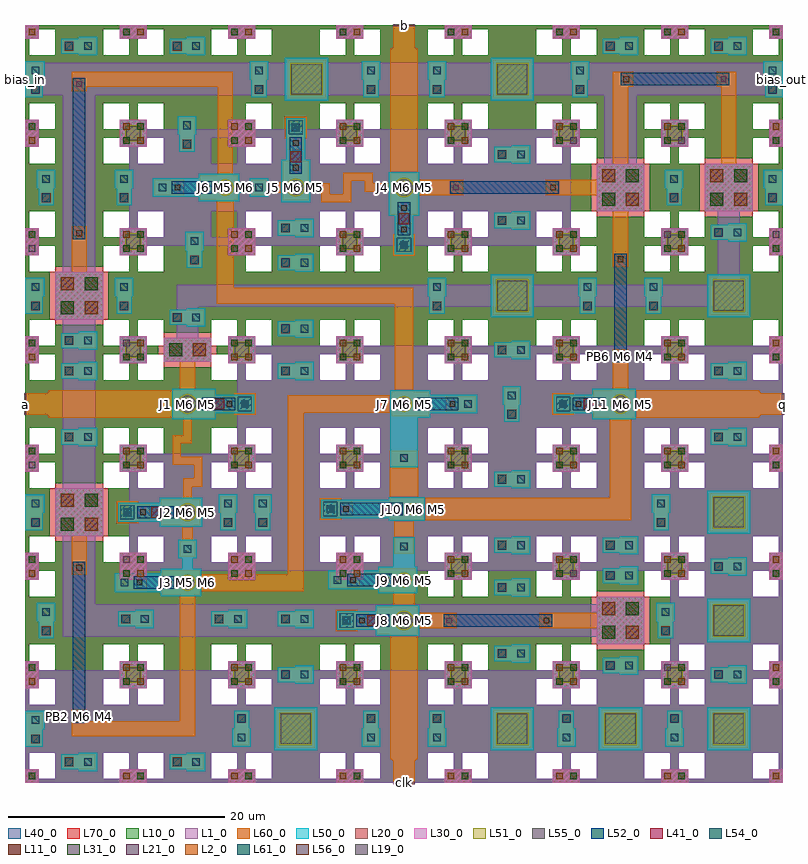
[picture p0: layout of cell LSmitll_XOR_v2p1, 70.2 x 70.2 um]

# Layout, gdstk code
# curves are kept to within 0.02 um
from math import pi, radians
import gdstk
lib = gdstk.Library(unit=1e-6, precision=1e-09)
def R(c, l, rs):  # rectangles x0, y0, x1, y1
    for r in rs: c.add(gdstk.rectangle(r[:2], r[2:], *l))
def A(c, l, x, y, w, h, nx, ny, dx, dy):  # array of equal rectangles
    R(c, l, [(x+i*dx, y+j*dy, x+i*dx+w, y+j*dy+h) for i in range(nx) for j in range(ny)])
def P(c, l, *ps):  # polygons
    for p in ps: c.add(gdstk.Polygon(p, *l))
L1_0 = (1, 0)
L2_0 = (2, 0)
L10_0 = (10, 0)
L11_0 = (11, 0)
L19_0 = (19, 0)
L20_0 = (20, 0)
L21_0 = (21, 0)
L30_0 = (30, 0)
L31_0 = (31, 0)
L40_0 = (40, 0)
L41_0 = (41, 0)
L50_0 = (50, 0)
L51_0 = (51, 0)
L52_0 = (52, 0)
L54_0 = (54, 0)
L55_0 = (55, 0)
L56_0 = (56, 0)
L60_0 = (60, 0)
L61_0 = (61, 0)
L70_0 = (70, 0)

ls_tr_m0 = lib.new_cell('ls_tr_M0')
P(ls_tr_m0, L1_0, [(10,10),(7.2,10),(7.2,9.6),(8.75,9.6),(8.75,8.75),(9.6,8.75),(9.6,7.2),(7.2,7.2),(7.2,2.8),(9.6,2.8),(9.6,1.25),(8.75,1.25),(8.75,0.4),(7.2,0.4),(7.2,10),(1.25,10),(1.25,9.6),(2.8,9.6),(2.8,7.2),(0.4,7.2),(0.4,2.8),(2.8,2.8),(2.8,0.4),(1.25,0.4),(1.25,1.25),(0.4,1.25),(0.4,8.75),(1.25,8.75),(1.25,10),(0,10),(0,0),(10,0)])

ls_fakejj_3umx3um = lib.new_cell('ls_FakeJJ_3umx3um')
R(ls_fakejj_3umx3um, L40_0, [(-2,-2,2,2)])
R(ls_fakejj_3umx3um, L50_0, [(-2,-2,2,2)])
R(ls_fakejj_3umx3um, L51_0, [(-1.5,-1.5,1.5,1.5)])
R(ls_fakejj_3umx3um, L55_0, [(-1.4,-1.4,1.4,1.4)])
R(ls_fakejj_3umx3um, L60_0, [(-1.75,-1.75,1.75,1.75)])

ls_fakejj_1p5x1p5um = lib.new_cell('ls_FakeJJ_1p5x1p5um')
R(ls_fakejj_1p5x1p5um, L40_0, [(-1.25,-1.25,1.25,1.25)])
R(ls_fakejj_1p5x1p5um, L50_0, [(-1.25,-1.25,1.25,1.25)])
R(ls_fakejj_1p5x1p5um, L51_0, [(-0.75,-0.75,0.75,0.75)])
R(ls_fakejj_1p5x1p5um, L55_0, [(-0.65,-0.65,0.65,0.65)])
R(ls_fakejj_1p5x1p5um, L60_0, [(-1,-1,1,1)])

ls_ib_112 = lib.new_cell('ls_ib_112')
R(ls_ib_112, L52_0, [(-0.575,0,0.575,14.875)])
R(ls_ib_112, L56_0, [(-0.26,0.29,0.26,0.81), (-0.26,14.07,0.26,14.59)])
R(ls_ib_112, L60_0, [(-0.625,-0.1,0.625,1.175), (-0.625,13.7,0.625,14.975)])

ls_jj_145_s = lib.new_cell('ls_jj_145_s')
R(ls_jj_145_s, L50_0, [(-1.225,-1.225,1.225,2.4), (-0.875,2.4,0.875,7)])
P(ls_jj_145_s, L51_0, [(0,-0.7),(0.27,-0.645),(0.495,-0.495),(0.645,-0.265),(0.7,0),(0.645,0.27),(0.495,0.495),(0.27,0.65),(0,0.7),(-0.27,0.65),(-0.495,0.495),(-0.645,0.27),(-0.7,0),(-0.645,-0.265),(-0.495,-0.495),(-0.27,-0.645)])
R(ls_jj_145_s, L52_0, [(-0.575,1.125,0.575,5.25)])
R(ls_jj_145_s, L54_0, [(-0.35,5.775,0.35,6.475)])
P(ls_jj_145_s, L55_0, [(0,-0.55),(0.21,-0.51),(0.39,-0.39),(0.51,-0.21),(0.55,0),(0.51,0.21),(0.39,0.39),(0.21,0.51),(0,0.55),(-0.21,0.51),(-0.39,0.39),(-0.51,0.21),(-0.55,0),(-0.51,-0.21),(-0.39,-0.39),(-0.21,-0.51)])
R(ls_jj_145_s, L56_0, [(-0.26,1.4,0.26,1.92), (-0.26,4.46,0.26,4.98)])
R(ls_jj_145_s, L60_0, [(-1.075,-1.075,1.075,2.3), (-0.725,4.1,0.725,6.85)])

ls_jj_162_s = lib.new_cell('ls_jj_162_s')
R(ls_jj_162_s, L50_0, [(-1.275,-1.275,1.275,2.425), (-0.875,2.425,0.875,6.775)])
P(ls_jj_162_s, L51_0, [(0,-0.74),(0.285,-0.685),(0.52,-0.525),(0.685,-0.285),(0.74,0),(0.685,0.28),(0.52,0.52),(0.285,0.68),(0,0.735),(-0.285,0.68),(-0.52,0.52),(-0.685,0.28),(-0.74,0),(-0.685,-0.285),(-0.52,-0.525),(-0.285,-0.685)])
R(ls_jj_162_s, L52_0, [(-0.575,1.175,0.575,5.025)])
R(ls_jj_162_s, L54_0, [(-0.35,5.55,0.35,6.25)])
P(ls_jj_162_s, L55_0, [(0,-0.59),(0.23,-0.55),(0.42,-0.42),(0.54,-0.23),(0.59,0),(0.54,0.22),(0.42,0.43),(0.13,0.58),(0,0.59),(-0.13,0.58),(-0.42,0.43),(-0.54,0.22),(-0.59,0),(-0.54,-0.23),(-0.42,-0.42),(-0.23,-0.55)])
R(ls_jj_162_s, L56_0, [(-0.26,1.44,0.26,1.96), (-0.26,4.23,0.26,4.75)])
R(ls_jj_162_s, L60_0, [(-1.125,-1.125,1.125,2.325), (-0.725,3.85,0.725,6.625)])

ls_jj_171_s = lib.new_cell('ls_jj_171_s')
R(ls_jj_171_s, L50_0, [(-1.275,-1.275,1.275,2.475), (-0.875,2.475,0.875,6.7)])
P(ls_jj_171_s, L51_0, [(0,-0.76),(0.29,-0.7),(0.535,-0.54),(0.7,-0.29),(0.76,0),(0.7,0.29),(0.535,0.535),(0.29,0.7),(0,0.755),(-0.29,0.7),(-0.535,0.535),(-0.7,0.29),(-0.76,0),(-0.7,-0.29),(-0.535,-0.54),(-0.29,-0.7)])
R(ls_jj_171_s, L52_0, [(-0.575,1.2,0.575,4.95)])
R(ls_jj_171_s, L54_0, [(-0.35,5.475,0.35,6.175)])
P(ls_jj_171_s, L55_0, [(0,-0.61),(0.12,-0.6),(0.34,-0.51),(0.51,-0.34),(0.6,-0.12),(0.6,0.12),(0.51,0.34),(0.34,0.5),(0.12,0.61),(-0.12,0.61),(-0.34,0.5),(-0.51,0.34),(-0.6,0.12),(-0.6,-0.12),(-0.51,-0.34),(-0.34,-0.51),(-0.12,-0.6)])
R(ls_jj_171_s, L56_0, [(-0.26,1.48,0.26,2), (-0.26,4.16,0.26,4.68)])
R(ls_jj_171_s, L60_0, [(-1.125,-1.125,1.125,2.375), (-0.725,3.775,0.725,6.55)])

ls_conn_m5m6m7 = lib.new_cell('ls_conn_M5M6M7')
R(ls_conn_m5m6m7, L50_0, [(-0.5,-0.5,1.2,1.2)])
R(ls_conn_m5m6m7, L54_0, [(0,0,0.7,0.7)])
R(ls_conn_m5m6m7, L60_0, [(-0.65,-0.65,1.35,1.35)])
R(ls_conn_m5m6m7, L61_0, [(-0.3,-0.3,1,1)])
R(ls_conn_m5m6m7, L70_0, [(-0.65,-0.65,1.35,1.35)])

ls_jj_209_sg = lib.new_cell('ls_jj_209_sg')
R(ls_jj_209_sg, L41_0, [(-0.5,2.325,0.5,3.325)])
R(ls_jj_209_sg, L50_0, [(-1.35,-1.35,1.35,2.55), (-0.875,2.55,0.875,6.4)])
P(ls_jj_209_sg, L51_0, [(0,-0.835),(0.32,-0.77),(0.59,-0.59),(0.77,-0.32),(0.835,0),(0.77,0.32),(0.59,0.59),(0.32,0.77),(0,0.835),(-0.32,0.77),(-0.59,0.59),(-0.77,0.32),(-0.835,0),(-0.77,-0.32),(-0.59,-0.59),(-0.32,-0.77)])
R(ls_jj_209_sg, L52_0, [(-0.575,1.275,0.575,4.65)])
P(ls_jj_209_sg, L55_0, [(0,-0.69),(0.13,-0.68),(0.38,-0.59),(0.57,-0.39),(0.63,-0.27),(0.69,-0.01),(0.63,0.26),(0.48,0.48),(0.26,0.63),(0,0.68),(-0.26,0.63),(-0.48,0.48),(-0.63,0.26),(-0.69,-0.01),(-0.63,-0.27),(-0.57,-0.39),(-0.38,-0.59),(-0.13,-0.68)])
R(ls_jj_209_sg, L56_0, [(-0.26,1.56,0.26,2.08), (-0.26,3.84,0.26,4.36)])
R(ls_jj_209_sg, L60_0, [(-1.2,-1.2,1.2,2.45), (-0.725,3.475,0.725,6.25)])
ls_jj_209_sg.add(gdstk.Reference(ls_conn_m5m6m7, (-0.35,5.2)))

ls_conn_m4m5m6m7 = lib.new_cell('ls_conn_M4M5M6M7')
R(ls_conn_m4m5m6m7, L40_0, [(0,0,1.4,1.4)])
R(ls_conn_m4m5m6m7, L41_0, [(0.3,0.3,1.1,1.1)])
P(ls_conn_m4m5m6m7, L50_0, [(3.3,1.55),(1.6,1.55),(1.6,1.4),(0,1.4),(0,0),(1.6,0),(1.6,-0.15),(3.3,-0.15)])
R(ls_conn_m4m5m6m7, L54_0, [(2.1,0.35,2.8,1.05)])
R(ls_conn_m4m5m6m7, L60_0, [(0,0,3.15,1.4)])
R(ls_conn_m4m5m6m7, L61_0, [(0.35,0.35,1.05,1.05)])
R(ls_conn_m4m5m6m7, L70_0, [(0,0,1.4,1.4)])

ls_tr_bias_pillar_m0m6 = lib.new_cell('ls_tr_bias_pillar_M0M6')
R(ls_tr_bias_pillar_m0m6, L1_0, [(0,0,1.25,1.25), (8.75,0,10,1.25), (2.8,2.8,7.2,7.2), (0,8.75,1.25,10), (8.75,8.75,10,10)])
R(ls_tr_bias_pillar_m0m6, L2_0, [(5.5,3.3,6.7,4.5), (3.3,5.5,4.5,6.7)])
R(ls_tr_bias_pillar_m0m6, L10_0, [(0,0,1.25,1.25), (8.75,0,10,1.25), (2.8,2.8,7.2,7.2), (0,8.75,1.25,10), (8.75,8.75,10,10)])
P(ls_tr_bias_pillar_m0m6, L10_0, [(10,10),(7.2,10),(7.2,9.6),(8.75,9.6),(8.75,8.75),(9.6,8.75),(9.6,7.2),(7.7,7.2),(7.7,2.8),(9.6,2.8),(9.6,1.25),(8.75,1.25),(8.75,0.4),(7.2,0.4),(7.2,2.3),(2.8,2.3),(2.8,0.4),(1.25,0.4),(1.25,1.25),(0.4,1.25),(0.4,2.8),(2.3,2.8),(2.3,7.2),(0.4,7.2),(0.4,8.75),(1.25,8.75),(1.25,9.6),(2.8,9.6),(2.8,7.7),(7.2,7.7),(7.2,10),(0,10),(0,0),(10,0)])
R(ls_tr_bias_pillar_m0m6, L11_0, [(0.35,0.35,0.95,0.95), (3.3,3.3,4.5,4.5), (5.5,5.5,6.7,6.7), (9.05,9.05,9.65,9.65)])
R(ls_tr_bias_pillar_m0m6, L20_0, [(0,0,1.25,1.25), (8.75,0,10,1.25), (2.8,2.8,7.2,7.2), (0,8.75,1.25,10), (8.75,8.75,10,10)])
R(ls_tr_bias_pillar_m0m6, L21_0, [(9.05,0.35,9.65,0.95), (5.5,3.3,6.7,4.5), (3.3,5.5,4.5,6.7), (0.35,9.05,0.95,9.65)])
R(ls_tr_bias_pillar_m0m6, L30_0, [(0,0,1.25,1.25), (8.75,0,10,1.25), (2.8,2.8,7.2,7.2), (0,8.75,1.25,10), (8.75,8.75,10,10)])
R(ls_tr_bias_pillar_m0m6, L31_0, [(0.35,0.35,0.95,0.95), (3.3,3.3,4.5,4.5), (5.5,5.5,6.7,6.7), (9.05,9.05,9.65,9.65)])
R(ls_tr_bias_pillar_m0m6, L40_0, [(2.8,2.8,7.2,7.2)])
P(ls_tr_bias_pillar_m0m6, L40_0, [(10,10),(7.2,10),(7.2,9.6),(8.75,9.6),(8.75,8.75),(9.6,8.75),(9.6,7.2),(7.7,7.2),(7.7,2.8),(9.6,2.8),(9.6,1.25),(8.75,1.25),(8.75,0.4),(7.2,0.4),(7.2,2.3),(2.8,2.3),(2.8,0.4),(1.25,0.4),(1.25,1.25),(0.4,1.25),(0.4,2.8),(2.3,2.8),(2.3,7.2),(0.4,7.2),(0.4,8.75),(1.25,8.75),(1.25,9.6),(2.8,9.6),(2.8,7.7),(7.2,7.7),(7.2,10),(0,10),(0,0),(10,0)])
R(ls_tr_bias_pillar_m0m6, L41_0, [(5.5,3.3,6.7,4.5), (3.3,5.5,4.5,6.7)])
R(ls_tr_bias_pillar_m0m6, L50_0, [(2.8,2.8,7.2,7.2)])
R(ls_tr_bias_pillar_m0m6, L54_0, [(3.3,3.3,4.5,4.5), (5.5,5.5,6.7,6.7)])
R(ls_tr_bias_pillar_m0m6, L60_0, [(2.8,2.8,7.2,7.2)])
P(ls_tr_bias_pillar_m0m6, L70_0, [(10,10),(7.2,10),(7.2,9.6),(8.75,9.6),(8.75,8.75),(9.6,8.75),(9.6,7.2),(7.2,7.2),(7.2,2.8),(9.6,2.8),(9.6,1.25),(8.75,1.25),(8.75,0.4),(7.2,0.4),(7.2,10),(1.25,10),(1.25,9.6),(2.8,9.6),(2.8,7.2),(0.4,7.2),(0.4,2.8),(2.8,2.8),(2.8,0.4),(1.25,0.4),(1.25,1.25),(0.4,1.25),(0.4,8.75),(1.25,8.75),(1.25,10),(0,10),(0,0),(10,0)])

ls_tr_u_m4_alt_quarter1 = lib.new_cell('ls_tr_u_M4_alt_quarter1')
R(ls_tr_u_m4_alt_quarter1, L1_0, [(0,0,1.25,1.25)])
R(ls_tr_u_m4_alt_quarter1, L10_0, [(0,0,1.25,1.25), (1.25,0,2.8,0.4), (2.8,0,5,5), (0,1.25,0.4,2.8), (0,2.8,2.8,5)])
R(ls_tr_u_m4_alt_quarter1, L11_0, [(0.35,0.35,0.95,0.95)])
R(ls_tr_u_m4_alt_quarter1, L20_0, [(0,0,1.25,1.25)])
R(ls_tr_u_m4_alt_quarter1, L30_0, [(0,0,1.25,1.25)])
R(ls_tr_u_m4_alt_quarter1, L31_0, [(0.35,0.35,0.95,0.95)])
R(ls_tr_u_m4_alt_quarter1, L40_0, [(0,0,1.25,1.25), (1.25,0,2.8,0.4), (2.8,0,5,5), (0,1.25,0.4,2.8), (0,2.8,2.8,5)])
R(ls_tr_u_m4_alt_quarter1, L70_0, [(0,0,1.25,1.25), (1.25,0,2.8,0.4), (2.8,0,5,5), (0,1.25,0.4,2.8), (0,2.8,2.8,5)])

ls_conn_m5m6 = lib.new_cell('ls_conn_M5M6')
R(ls_conn_m5m6, L50_0, [(0,0,1.7,1.7)])
R(ls_conn_m5m6, L54_0, [(0.5,0.5,1.2,1.2)])
R(ls_conn_m5m6, L60_0, [(0.15,0.15,1.55,1.55)])

ls_jj_250_sg = lib.new_cell('ls_jj_250_sg')
R(ls_jj_250_sg, L41_0, [(-0.5,2.4,0.5,3.4)])
R(ls_jj_250_sg, L50_0, [(-1.425,-1.425,1.425,2.625), (-0.875,2.625,0.875,6.175)])
P(ls_jj_250_sg, L51_0, [(0,-0.91),(0.18,-0.895),(0.35,-0.84),(0.645,-0.645),(0.84,-0.35),(0.91,0),(0.895,0.18),(0.84,0.35),(0.645,0.645),(0.35,0.84),(0.18,0.895),(0,0.91),(-0.18,0.895),(-0.35,0.84),(-0.645,0.645),(-0.84,0.35),(-0.895,0.18),(-0.91,0),(-0.84,-0.35),(-0.645,-0.645),(-0.35,-0.84),(-0.18,-0.895)])
R(ls_jj_250_sg, L52_0, [(-0.575,1.35,0.575,4.425)])
R(ls_jj_250_sg, L54_0, [(-0.35,4.95,0.35,5.65)])
P(ls_jj_250_sg, L55_0, [(0,-0.76),(0.15,-0.75),(0.29,-0.7),(0.54,-0.54),(0.7,-0.29),(0.75,-0.15),(0.76,0),(0.75,0.15),(0.7,0.29),(0.54,0.54),(0.29,0.7),(0.15,0.75),(0,0.76),(-0.15,0.75),(-0.29,0.7),(-0.54,0.54),(-0.7,0.29),(-0.75,0.15),(-0.76,0),(-0.75,-0.15),(-0.7,-0.29),(-0.54,-0.54),(-0.29,-0.7),(-0.15,-0.75)])
R(ls_jj_250_sg, L56_0, [(-0.26,1.64,0.26,2.16), (-0.26,3.63,0.26,4.15)])
R(ls_jj_250_sg, L60_0, [(-1.275,-1.275,1.275,2.525), (-0.725,3.25,0.725,6.025)])
ls_jj_250_sg.add(gdstk.Reference(ls_conn_m5m6m7, (-0.35,4.95)))

ls_ib_175 = lib.new_cell('ls_ib_175')
R(ls_ib_175, L52_0, [(-0.575,0,0.575,10.05)])
R(ls_ib_175, L56_0, [(-0.26,0.29,0.26,0.81), (-0.26,9.26,0.26,9.78)])
R(ls_ib_175, L60_0, [(-0.625,-0.1,0.625,1.175), (-0.625,8.875,0.625,10.15)])

ls_tr_m7 = lib.new_cell('ls_tr_M7')
P(ls_tr_m7, L70_0, [(10,10),(7.2,10),(7.2,9.6),(8.75,9.6),(8.75,8.75),(9.6,8.75),(9.6,7.2),(7.2,7.2),(7.2,2.8),(9.6,2.8),(9.6,1.25),(8.75,1.25),(8.75,0.4),(7.2,0.4),(7.2,10),(1.25,10),(1.25,9.6),(2.8,9.6),(2.8,7.2),(0.4,7.2),(0.4,2.8),(2.8,2.8),(2.8,0.4),(1.25,0.4),(1.25,1.25),(0.4,1.25),(0.4,8.75),(1.25,8.75),(1.25,10),(0,10),(0,0),(10,0)])

ls_tr_u_m4_alt = lib.new_cell('ls_tr_u_M4_alt')
R(ls_tr_u_m4_alt, L1_0, [(0,0,1.25,1.25), (8.75,0,10,1.25), (0,8.75,1.25,10), (8.75,8.75,10,10)])
R(ls_tr_u_m4_alt, L2_0, [(9.05,0.35,9.65,0.95), (0.35,9.05,0.95,9.65)])
R(ls_tr_u_m4_alt, L10_0, [(0,0,1.25,1.25), (1.25,0,8.75,0.4), (8.75,0,10,1.25), (2.8,0.4,7.2,9.6), (0,1.25,0.4,8.75), (9.6,1.25,10,8.75), (0.4,2.8,2.8,7.2), (7.2,2.8,9.6,7.2), (0,8.75,1.25,10), (8.75,8.75,10,10), (1.25,9.6,8.75,10)])
R(ls_tr_u_m4_alt, L11_0, [(0.35,0.35,0.95,0.95), (9.05,9.05,9.65,9.65)])
R(ls_tr_u_m4_alt, L20_0, [(0,0,1.25,1.25), (8.75,0,10,1.25), (0,8.75,1.25,10), (8.75,8.75,10,10)])
R(ls_tr_u_m4_alt, L21_0, [(9.05,0.35,9.65,0.95), (0.35,9.05,0.95,9.65)])
R(ls_tr_u_m4_alt, L30_0, [(0,0,1.25,1.25), (8.75,0,10,1.25), (0,8.75,1.25,10), (8.75,8.75,10,10)])
R(ls_tr_u_m4_alt, L31_0, [(0.35,0.35,0.95,0.95), (9.05,9.05,9.65,9.65)])
P(ls_tr_u_m4_alt, L40_0, [(10,10),(7.2,10),(7.2,9.6),(8.75,9.6),(8.75,8.75),(9.6,8.75),(9.6,7.2),(7.2,7.2),(7.2,2.8),(9.6,2.8),(9.6,1.25),(8.75,1.25),(8.75,0.4),(7.2,0.4),(7.2,10),(1.25,10),(1.25,9.6),(2.8,9.6),(2.8,7.2),(0.4,7.2),(0.4,2.8),(2.8,2.8),(2.8,0.4),(1.25,0.4),(1.25,1.25),(0.4,1.25),(0.4,8.75),(1.25,8.75),(1.25,10),(0,10),(0,0),(10,0)])
ls_tr_u_m4_alt.add(gdstk.Reference(ls_tr_m7, (0,0)))

ls_tr_biaspillar_m0m6_ha = lib.new_cell('ls_tr_biaspillar_M0M6_half')
R(ls_tr_biaspillar_m0m6_ha, L1_0, [(3.75,0,6.25,1.25), (3.9,2.8,6.1,7.2), (3.75,8.75,6.25,10)])
R(ls_tr_biaspillar_m0m6_ha, L2_0, [(4.05,0.35,4.65,0.95), (4.4,3.3,5.6,4.5), (5.35,9.05,5.95,9.65)])
R(ls_tr_biaspillar_m0m6_ha, L10_0, [(0,0,2.2,10), (2.2,0,3.75,0.4), (3.75,0,6.25,1.25), (6.25,0,7.8,0.4), (7.8,0,10,10), (4.6,1.25,5.4,2.3), (2.2,2.8,3.4,7.2), (3.9,2.8,6.1,7.2), (6.6,2.8,7.8,7.2), (4.6,7.7,5.4,8.75), (3.75,8.75,6.25,10), (2.2,9.6,3.75,10), (6.25,9.6,7.8,10)])
R(ls_tr_biaspillar_m0m6_ha, L11_0, [(5.35,0.35,5.95,0.95), (4.4,5.5,5.6,6.7), (4.05,9.05,4.65,9.65)])
R(ls_tr_biaspillar_m0m6_ha, L20_0, [(3.75,0,6.25,1.25), (3.9,2.8,6.1,7.2), (3.75,8.75,6.25,10)])
R(ls_tr_biaspillar_m0m6_ha, L21_0, [(4.05,0.35,4.65,0.95), (4.4,3.3,5.6,4.5), (5.35,9.05,5.95,9.65)])
R(ls_tr_biaspillar_m0m6_ha, L30_0, [(3.75,0,6.25,1.25), (3.9,2.8,6.1,7.2), (3.75,8.75,6.25,10)])
R(ls_tr_biaspillar_m0m6_ha, L31_0, [(5.35,0.35,5.95,0.95), (4.4,5.5,5.6,6.7), (4.05,9.05,4.65,9.65)])
R(ls_tr_biaspillar_m0m6_ha, L40_0, [(0,0,2.2,10), (2.2,0,3.75,0.4), (3.75,0,6.25,1.25), (6.25,0,7.8,0.4), (7.8,0,10,10), (4.6,1.25,5.4,2.3), (2.2,2.8,3.4,7.2), (3.9,2.8,6.1,7.2), (6.6,2.8,7.8,7.2), (4.6,7.7,5.4,8.75), (3.75,8.75,6.25,10), (2.2,9.6,3.75,10), (6.25,9.6,7.8,10)])
R(ls_tr_biaspillar_m0m6_ha, L41_0, [(4.4,3.3,5.6,4.5)])
R(ls_tr_biaspillar_m0m6_ha, L50_0, [(3.9,2.8,6.1,7.2)])
R(ls_tr_biaspillar_m0m6_ha, L54_0, [(4.4,5.5,5.6,6.7)])
R(ls_tr_biaspillar_m0m6_ha, L60_0, [(3.9,2.8,6.1,7.2)])
R(ls_tr_biaspillar_m0m6_ha, L70_0, [(0,0,2.2,10), (2.2,0,3.75,0.4), (3.75,0,6.25,1.25), (6.25,0,7.8,0.4), (7.8,0,10,10), (4.6,1.25,5.4,8.75), (2.2,2.8,7.8,7.2), (3.75,8.75,6.25,10), (2.2,9.6,3.75,10), (6.25,9.6,7.8,10)])

ls_tr_u_m4_alt_quarter2 = lib.new_cell('ls_tr_u_M4_alt_quarter2')
R(ls_tr_u_m4_alt_quarter2, L1_0, [(-1.25,0,0,1.25)])
R(ls_tr_u_m4_alt_quarter2, L2_0, [(-0.95,0.35,-0.35,0.95)])
R(ls_tr_u_m4_alt_quarter2, L10_0, [(-5,0,-2.8,5), (-2.8,0,-1.25,0.4), (-1.25,0,0,1.25), (-0.4,1.25,0,2.8), (-2.8,2.8,0,5)])
R(ls_tr_u_m4_alt_quarter2, L20_0, [(-1.25,0,0,1.25)])
R(ls_tr_u_m4_alt_quarter2, L21_0, [(-0.95,0.35,-0.35,0.95)])
R(ls_tr_u_m4_alt_quarter2, L30_0, [(-1.25,0,0,1.25)])
R(ls_tr_u_m4_alt_quarter2, L40_0, [(-5,0,-2.8,5), (-2.8,0,-1.25,0.4), (-1.25,0,0,1.25), (-0.4,1.25,0,2.8), (-2.8,2.8,0,5)])
R(ls_tr_u_m4_alt_quarter2, L70_0, [(-5,0,-2.8,5), (-2.8,0,-1.25,0.4), (-1.25,0,0,1.25), (-0.4,1.25,0,2.8), (-2.8,2.8,0,5)])

ls_jj_089_sg = lib.new_cell('ls_jj_089_sg')
R(ls_jj_089_sg, L41_0, [(-0.5,2.05,0.5,3.05)])
R(ls_jj_089_sg, L50_0, [(-1.075,-1.075,1.075,2.25), (-0.875,2.25,0.875,8.5)])
P(ls_jj_089_sg, L51_0, [(0,-0.555),(0.21,-0.515),(0.39,-0.395),(0.51,-0.215),(0.555,0),(0.51,0.21),(0.39,0.39),(0.21,0.51),(0,0.55),(-0.21,0.51),(-0.39,0.39),(-0.51,0.21),(-0.555,0),(-0.51,-0.215),(-0.39,-0.395),(-0.21,-0.515)])
R(ls_jj_089_sg, L52_0, [(-0.575,0.975,0.575,6.75)])
P(ls_jj_089_sg, L55_0, [(0,-0.4),(0.15,-0.37),(0.29,-0.28),(0.4,-0.09),(0.4,0.08),(0.34,0.23),(0.15,0.38),(0,0.41),(-0.15,0.38),(-0.29,0.29),(-0.4,0.08),(-0.4,-0.09),(-0.34,-0.22),(-0.15,-0.37)])
R(ls_jj_089_sg, L56_0, [(-0.26,1.25,0.26,1.77), (-0.26,5.96,0.26,6.48)])
R(ls_jj_089_sg, L60_0, [(-0.925,-0.925,0.925,2.15), (-0.725,5.6,0.725,8.35)])
ls_jj_089_sg.add(gdstk.Reference(ls_conn_m5m6m7, (-0.35,7.3)))

lsmitll_xor_v2p1 = lib.new_cell('LSmitll_XOR_v2p1')
R(lsmitll_xor_v2p1, L1_0, [(1.25,10,58.75,10.4), (59.6,11.25,60,18.75), (11.25,19.6,58.75,20), (9.6,21.25,10,28.75), (11.25,30,18.75,30.4), (19.6,31.25,20,38.75), (21.25,40,68.75,40.4), (11.25,49.6,48.75,50), (9.6,51.25,10,58.75), (50,51.25,50.4,58.75), (11.25,60,48.75,60.4)])
A(lsmitll_xor_v2p1, L10_0, 7.2, 17.2, 5.6, 2.4, 3, 1, 10, 0)
R(lsmitll_xor_v2p1, L10_0, [(17.2,47.2,19.6,52.8), (17.2,57.2,19.6,62.8)])
R(lsmitll_xor_v2p1, L19_0, [(4.74,5.84,5.26,6.36), (38.92,14.74,39.44,15.26), (54.74,39.14,55.26,39.66), (39.52,54.74,40.04,55.26), (4.74,64.29,5.26,64.81), (64.24,64.74,64.76,65.26)])
A(lsmitll_xor_v2p1, L40_0, 7.2, 17.2, 5.6, 2.4, 3, 1, 10, 0)
R(lsmitll_xor_v2p1, L40_0, [(17.2,47.2,19.6,52.8), (17.2,57.2,19.6,62.8)])
A(lsmitll_xor_v2p1, L50_0, 0, 3.35, 0.25, 3.3, 1, 4, 0, 20)
R(lsmitll_xor_v2p1, L50_0, [(69.75,53.35,70,56.65), (69.75,63.35,70,66.65)])
A(lsmitll_xor_v2p1, L60_0, 0, 3.35, 0.25, 3.15, 1, 4, 0, 20)
R(lsmitll_xor_v2p1, L60_0, [(69.75,53.35,70,56.5), (69.75,63.35,70,66.5)])
P(lsmitll_xor_v2p1, L60_0, [(2.25,36.25),(2,36),(2,34),(2.25,33.75)],
  [(33.75,2.25),(34,2),(36,2),(36.25,2.25)],
  [(67.75,36.25),(67.75,33.75),(68,34),(68,36)],
  [(36.25,67.75),(36,68),(34,68),(33.75,67.75)])
A(lsmitll_xor_v2p1, L70_0, 7.2, 17.2, 5.6, 2.4, 3, 1, 10, 0)
R(lsmitll_xor_v2p1, L70_0, [(17.2,47.2,19.6,52.8), (17.2,57.2,19.6,62.8)])
lsmitll_xor_v2p1.add(gdstk.FlexPath([(3.5,15),(55,15)], 3, ends="flush", simple_path=True, layer=1, datatype=0))  # L1_0
lsmitll_xor_v2p1.add(gdstk.FlexPath([(5,65),(5,15)], 3, ends="flush", simple_path=True, layer=1, datatype=0))  # L1_0
lsmitll_xor_v2p1.add(gdstk.FlexPath([(55,55),(55,65)], 3, ends="flush", simple_path=True, layer=1, datatype=0))  # L1_0
lsmitll_xor_v2p1.add(gdstk.FlexPath([(0,65),(70,65)], 3, ends="flush", simple_path=True, layer=1, datatype=0))  # L1_0
lsmitll_xor_v2p1.add(gdstk.FlexPath([(15,33.75),(15,31.75),(14,31.75),(14,29.75),(16,29.75),(16,27.75),(15,27.75),(15,26.15)], 0.75, ends="flush", simple_path=True, layer=60, datatype=0))  # L60_0
lsmitll_xor_v2p1.add(gdstk.FlexPath([(18.5,56.1),(18.5,65),(5,65),(5,63.9)], 1.4, ends="flush", simple_path=True, layer=60, datatype=0))  # L60_0
lsmitll_xor_v2p1.add(gdstk.FlexPath([(5,45),(5,51.4)], 1.4, ends="flush", simple_path=True, layer=60, datatype=0))  # L60_0
lsmitll_xor_v2p1.add(gdstk.FlexPath([(35,67.75),(35,56.25)], 2.5, ends="flush", simple_path=True, layer=60, datatype=0))  # L60_0
lsmitll_xor_v2p1.add(gdstk.FlexPath([(56,35),(67.75,35)], 2.5, ends="flush", simple_path=True, layer=60, datatype=0))  # L60_0
lsmitll_xor_v2p1.add(gdstk.FlexPath([(35,14),(35,2.25)], 2.5, ends="flush", simple_path=True, layer=60, datatype=0))  # L60_0
lsmitll_xor_v2p1.add(gdstk.FlexPath([(0,35),(2,35)], 2, ends="flush", simple_path=True, layer=60, datatype=0))  # L60_0
lsmitll_xor_v2p1.add(gdstk.FlexPath([(55,15),(47.5,15)], 1.4, ends="flush", simple_path=True, layer=60, datatype=0))  # L60_0
lsmitll_xor_v2p1.add(gdstk.FlexPath([(36.25,15),(39.85,15)], 1.4, ends="flush", simple_path=True, layer=60, datatype=0))  # L60_0
lsmitll_xor_v2p1.add(gdstk.FlexPath([(35,2),(35,0)], 2, ends="flush", simple_path=True, layer=60, datatype=0))  # L60_0
lsmitll_xor_v2p1.add(gdstk.FlexPath([(55,55),(55,47.7)], 1.4, ends="flush", simple_path=True, layer=60, datatype=0))  # L60_0
lsmitll_xor_v2p1.add(gdstk.FlexPath([(55,36.25),(55,40.05)], 1.4, ends="flush", simple_path=True, layer=60, datatype=0))  # L60_0
lsmitll_xor_v2p1.add(gdstk.FlexPath([(68,35),(70,35)], 2, ends="flush", simple_path=True, layer=60, datatype=0))  # L60_0
lsmitll_xor_v2p1.add(gdstk.FlexPath([(55,24.25),(55,33.75)], 2, ends="flush", simple_path=True, layer=60, datatype=0))  # L60_0
lsmitll_xor_v2p1.add(gdstk.FlexPath([(35.05,25.3),(56,25.3)], 2.1, ends="flush", simple_path=True, layer=60, datatype=0))  # L60_0
lsmitll_xor_v2p1.add(gdstk.FlexPath([(5,25),(5,19.25)], 1.4, ends="flush", simple_path=True, layer=60, datatype=0))  # L60_0
lsmitll_xor_v2p1.add(gdstk.FlexPath([(35,45.75),(35,36.1)], 1.7, ends="flush", simple_path=True, layer=60, datatype=0))  # L60_0
lsmitll_xor_v2p1.add(gdstk.FlexPath([(17.725,45),(35.55,45)], 1.5, ends="flush", simple_path=True, layer=60, datatype=0))  # L60_0
lsmitll_xor_v2p1.add(gdstk.FlexPath([(18.5,53.95),(18.5,44.25)], 1.55, ends="flush", simple_path=True, layer=60, datatype=0))  # L60_0
lsmitll_xor_v2p1.add(gdstk.FlexPath([(23.85,55),(20.9,55)], 1, ends="flush", simple_path=True, layer=60, datatype=0))  # L60_0
lsmitll_xor_v2p1.add(gdstk.FlexPath([(22.45,55),(19.75,55)], 1, ends="flush", simple_path=True, layer=50, datatype=0))  # L50_0
lsmitll_xor_v2p1.add(gdstk.FlexPath([(35,70),(35,67.75)], 2, ends="flush", simple_path=True, layer=60, datatype=0))  # L60_0
lsmitll_xor_v2p1.add(gdstk.FlexPath([(2.25,35),(14,35)], 2.5, ends="flush", simple_path=True, layer=60, datatype=0))  # L60_0
lsmitll_xor_v2p1.add(gdstk.FlexPath([(15,22.45),(15,19.75)], 1, ends="flush", simple_path=True, layer=50, datatype=0))  # L50_0
lsmitll_xor_v2p1.add(gdstk.FlexPath([(15,23.85),(15,20.9)], 1, ends="flush", simple_path=True, layer=60, datatype=0))  # L60_0
lsmitll_xor_v2p1.add(gdstk.FlexPath([(16.1,18.5),(25.75,18.5)], 1.55, ends="flush", simple_path=True, layer=60, datatype=0))  # L60_0
lsmitll_xor_v2p1.add(gdstk.FlexPath([(25,17.725),(25,35.55)], 1.5, ends="flush", simple_path=True, layer=60, datatype=0))  # L60_0
lsmitll_xor_v2p1.add(gdstk.FlexPath([(24.25,35),(33.9,35)], 1.65, ends="flush", simple_path=True, layer=60, datatype=0))  # L60_0
lsmitll_xor_v2p1.add(gdstk.FlexPath([(15,17.45),(15,5),(5,5),(5,6.75)], 1.4, ends="flush", simple_path=True, layer=60, datatype=0))  # L60_0
lsmitll_xor_v2p1.add(gdstk.FlexPath([(35,33.75),(35,29.15)], 2.55, ends="flush", simple_path=True, layer=50, datatype=0))  # L50_0
lsmitll_xor_v2p1.add(gdstk.FlexPath([(35,30.7),(35,25.85)], 2.6, ends="flush", simple_path=True, layer=60, datatype=0))  # L60_0
lsmitll_xor_v2p1.add(gdstk.FlexPath([(35,24.4),(35,21.15)], 1.8, ends="flush", simple_path=True, layer=60, datatype=0))  # L60_0
lsmitll_xor_v2p1.add(gdstk.FlexPath([(35,22.7),(35,19.9)], 2, ends="flush", simple_path=True, layer=50, datatype=0))  # L50_0
lsmitll_xor_v2p1.add(gdstk.FlexPath([(35,17.75),(35,16.25)], 2, ends="flush", simple_path=True, layer=60, datatype=0))  # L60_0
lsmitll_xor_v2p1.add(gdstk.FlexPath([(0,34),(0,36)], 0.2, ends="flush", simple_path=True, layer=19, datatype=0))  # L19_0
lsmitll_xor_v2p1.add(gdstk.FlexPath([(34,70),(36,70)], 0.2, ends="flush", simple_path=True, layer=19, datatype=0))  # L19_0
lsmitll_xor_v2p1.add(gdstk.FlexPath([(70,36),(70,34)], 0.2, ends="flush", simple_path=True, layer=19, datatype=0))  # L19_0
lsmitll_xor_v2p1.add(gdstk.FlexPath([(34,0),(36,0)], 0.2, ends="flush", simple_path=True, layer=19, datatype=0))  # L19_0
lsmitll_xor_v2p1.add(gdstk.FlexPath([(36.25,55),(40.45,55)], 1.4, ends="flush", simple_path=True, layer=60, datatype=0))  # L60_0
lsmitll_xor_v2p1.add(gdstk.FlexPath([(48.1,55),(55,55)], 1.4, ends="flush", simple_path=True, layer=60, datatype=0))  # L60_0
lsmitll_xor_v2p1.add(gdstk.FlexPath([(15,36.25),(15,40)], 1.4, ends="flush", simple_path=True, layer=60, datatype=0))  # L60_0
lsmitll_xor_v2p1.add(gdstk.FlexPath([(65,55),(65,65),(63.875,65)], 1.4, ends="flush", simple_path=True, layer=60, datatype=0))  # L60_0
lsmitll_xor_v2p1.add(gdstk.FlexPath([(55,55),(55,65),(56.175,65)], 1.4, ends="flush", simple_path=True, layer=60, datatype=0))  # L60_0
lsmitll_xor_v2p1.add(gdstk.FlexPath([(15,40),(15,45),(65,45),(65,55)], 2, ends="flush", simple_path=True, layer=1, datatype=0))  # L1_0
lsmitll_xor_v2p1.add(gdstk.FlexPath([(33.75,55),(31.75,55),(31.75,56),(29.75,56),(29.75,54),(27.75,54),(27.75,55),(26.15,55)], 0.75, ends="flush", simple_path=True, layer=60, datatype=0))  # L60_0
lsmitll_xor_v2p1.add(gdstk.Reference(ls_tr_m0, (0,0)))
lsmitll_xor_v2p1.add(gdstk.Reference(ls_tr_m0, (10,0)))
lsmitll_xor_v2p1.add(gdstk.Reference(ls_tr_m0, (20,0)))
lsmitll_xor_v2p1.add(gdstk.Reference(ls_tr_m0, (30,0)))
lsmitll_xor_v2p1.add(gdstk.Reference(ls_tr_m0, (40,0)))
lsmitll_xor_v2p1.add(gdstk.Reference(ls_tr_m0, (50,0)))
lsmitll_xor_v2p1.add(gdstk.Reference(ls_tr_m0, (60,0)))
lsmitll_xor_v2p1.add(gdstk.Reference(ls_tr_m0, (60,10)))
lsmitll_xor_v2p1.add(gdstk.Reference(ls_tr_m0, (60,20)))
lsmitll_xor_v2p1.add(gdstk.Reference(ls_tr_m0, (50,20)))
lsmitll_xor_v2p1.add(gdstk.Reference(ls_tr_m0, (40,20)))
lsmitll_xor_v2p1.add(gdstk.Reference(ls_tr_m0, (30,20)))
lsmitll_xor_v2p1.add(gdstk.Reference(ls_tr_m0, (20,20)))
lsmitll_xor_v2p1.add(gdstk.Reference(ls_tr_m0, (10,20)))
lsmitll_xor_v2p1.add(gdstk.Reference(ls_tr_m0, (20,30)))
lsmitll_xor_v2p1.add(gdstk.Reference(ls_tr_m0, (30,30)))
lsmitll_xor_v2p1.add(gdstk.Reference(ls_tr_m0, (40,30)))
lsmitll_xor_v2p1.add(gdstk.Reference(ls_tr_m0, (50,30)))
lsmitll_xor_v2p1.add(gdstk.Reference(ls_tr_m0, (60,30)))
lsmitll_xor_v2p1.add(gdstk.Reference(ls_tr_m0, (40,50)))
lsmitll_xor_v2p1.add(gdstk.Reference(ls_tr_m0, (30,50)))
lsmitll_xor_v2p1.add(gdstk.Reference(ls_tr_m0, (20,50)))
lsmitll_xor_v2p1.add(gdstk.Reference(ls_tr_m0, (10,50)))
lsmitll_xor_v2p1.add(gdstk.Reference(ls_fakejj_3umx3um, (26,65)))
lsmitll_xor_v2p1.add(gdstk.Reference(ls_fakejj_3umx3um, (25,5)))
lsmitll_xor_v2p1.add(gdstk.Reference(ls_fakejj_3umx3um, (45,5)))
lsmitll_xor_v2p1.add(gdstk.Reference(ls_fakejj_3umx3um, (55,5)))
lsmitll_xor_v2p1.add(gdstk.Reference(ls_fakejj_3umx3um, (65,5)))
lsmitll_xor_v2p1.add(gdstk.Reference(ls_fakejj_3umx3um, (65,15)))
lsmitll_xor_v2p1.add(gdstk.Reference(ls_fakejj_3umx3um, (65,25)))
lsmitll_xor_v2p1.add(gdstk.Reference(ls_fakejj_3umx3um, (65,45)))
lsmitll_xor_v2p1.add(gdstk.Reference(ls_fakejj_3umx3um, (45,45)))
lsmitll_xor_v2p1.add(gdstk.Reference(ls_fakejj_3umx3um, (45,65)))
lsmitll_xor_v2p1.add(gdstk.Reference(ls_fakejj_1p5x1p5um, (10,10)))
lsmitll_xor_v2p1.add(gdstk.Reference(ls_fakejj_1p5x1p5um, (20,10)))
lsmitll_xor_v2p1.add(gdstk.Reference(ls_fakejj_1p5x1p5um, (30,10)))
lsmitll_xor_v2p1.add(gdstk.Reference(ls_fakejj_1p5x1p5um, (40,10)))
lsmitll_xor_v2p1.add(gdstk.Reference(ls_fakejj_1p5x1p5um, (50,10)))
lsmitll_xor_v2p1.add(gdstk.Reference(ls_fakejj_1p5x1p5um, (60,10)))
lsmitll_xor_v2p1.add(gdstk.Reference(ls_fakejj_1p5x1p5um, (60,20)))
lsmitll_xor_v2p1.add(gdstk.Reference(ls_fakejj_1p5x1p5um, (50,20)))
lsmitll_xor_v2p1.add(gdstk.Reference(ls_fakejj_1p5x1p5um, (40,20)))
lsmitll_xor_v2p1.add(gdstk.Reference(ls_fakejj_1p5x1p5um, (10,30)))
lsmitll_xor_v2p1.add(gdstk.Reference(ls_fakejj_1p5x1p5um, (20,30)))
lsmitll_xor_v2p1.add(gdstk.Reference(ls_fakejj_1p5x1p5um, (30,30)))
lsmitll_xor_v2p1.add(gdstk.Reference(ls_fakejj_1p5x1p5um, (40,30)))
lsmitll_xor_v2p1.add(gdstk.Reference(ls_fakejj_1p5x1p5um, (50,30)))
lsmitll_xor_v2p1.add(gdstk.Reference(ls_fakejj_1p5x1p5um, (60,30)))
lsmitll_xor_v2p1.add(gdstk.Reference(ls_fakejj_1p5x1p5um, (60,40)))
lsmitll_xor_v2p1.add(gdstk.Reference(ls_fakejj_1p5x1p5um, (50,40)))
lsmitll_xor_v2p1.add(gdstk.Reference(ls_fakejj_1p5x1p5um, (40,40)))
lsmitll_xor_v2p1.add(gdstk.Reference(ls_fakejj_1p5x1p5um, (30,40)))
lsmitll_xor_v2p1.add(gdstk.Reference(ls_fakejj_1p5x1p5um, (20,40)))
lsmitll_xor_v2p1.add(gdstk.Reference(ls_fakejj_1p5x1p5um, (10,40)))
lsmitll_xor_v2p1.add(gdstk.Reference(ls_fakejj_1p5x1p5um, (10,50)))
lsmitll_xor_v2p1.add(gdstk.Reference(ls_fakejj_1p5x1p5um, (30,50)))
lsmitll_xor_v2p1.add(gdstk.Reference(ls_fakejj_1p5x1p5um, (40,50)))
lsmitll_xor_v2p1.add(gdstk.Reference(ls_fakejj_1p5x1p5um, (50,50)))
lsmitll_xor_v2p1.add(gdstk.Reference(ls_fakejj_1p5x1p5um, (60,50)))
lsmitll_xor_v2p1.add(gdstk.Reference(ls_fakejj_1p5x1p5um, (60,60)))
lsmitll_xor_v2p1.add(gdstk.Reference(ls_fakejj_1p5x1p5um, (50,60)))
lsmitll_xor_v2p1.add(gdstk.Reference(ls_fakejj_1p5x1p5um, (40,60)))
lsmitll_xor_v2p1.add(gdstk.Reference(ls_fakejj_1p5x1p5um, (30,60)))
lsmitll_xor_v2p1.add(gdstk.Reference(ls_fakejj_1p5x1p5um, (10,60)))
lsmitll_xor_v2p1.add(gdstk.Reference(ls_ib_112, (5,65.1), rotation=pi))
lsmitll_xor_v2p1.add(gdstk.Reference(ls_ib_112, (5,5.55)))
lsmitll_xor_v2p1.add(gdstk.Reference(ls_jj_145_s, (35,18.75), rotation=pi/2))
lsmitll_xor_v2p1.add(gdstk.Reference(ls_jj_162_s, (35,35), rotation=3*pi/2))
lsmitll_xor_v2p1.add(gdstk.Reference(ls_jj_171_s, (18.5,55), rotation=pi/2))
lsmitll_xor_v2p1.add(gdstk.Reference(ls_jj_209_sg, (25,55)))
lsmitll_xor_v2p1.add(gdstk.Reference(ls_jj_209_sg, (15,25), rotation=pi/2))
lsmitll_xor_v2p1.add(gdstk.Reference(ls_conn_m4m5m6m7, (43.35,27.35)))
lsmitll_xor_v2p1.add(gdstk.Reference(ls_conn_m4m5m6m7, (53.35,10.15)))
lsmitll_xor_v2p1.add(gdstk.Reference(ls_conn_m4m5m6m7, (53.35,18.45)))
lsmitll_xor_v2p1.add(gdstk.Reference(ls_conn_m4m5m6m7, (8.6,14.45)))
lsmitll_xor_v2p1.add(gdstk.Reference(ls_conn_m4m5m6m7, (2.65,13.35), rotation=pi/2))
lsmitll_xor_v2p1.add(gdstk.Reference(ls_conn_m4m5m6m7, (59.85,13.35), rotation=pi/2))
lsmitll_xor_v2p1.add(gdstk.Reference(ls_conn_m4m5m6m7, (19.3,6.65), rotation=3*pi/2))
lsmitll_xor_v2p1.add(gdstk.Reference(ls_conn_m4m5m6m7, (43.35,11.25)))
lsmitll_xor_v2p1.add(gdstk.Reference(ls_conn_m4m5m6m7, (31.25,6.65), rotation=3*pi/2))
lsmitll_xor_v2p1.add(gdstk.Reference(ls_conn_m4m5m6m7, (37.35,6.65), rotation=3*pi/2))
lsmitll_xor_v2p1.add(gdstk.Reference(ls_conn_m4m5m6m7, (9.85,53.35), rotation=pi/2))
lsmitll_xor_v2p1.add(gdstk.Reference(ls_conn_m4m5m6m7, (2.65,53.35), rotation=pi/2))
lsmitll_xor_v2p1.add(gdstk.Reference(ls_conn_m4m5m6m7, (15.65,58.3), rotation=pi/2))
lsmitll_xor_v2p1.add(gdstk.Reference(ls_conn_m4m5m6m7, (1.65,63.35), rotation=pi/2))
lsmitll_xor_v2p1.add(gdstk.Reference(ls_conn_m4m5m6m7, (22.3,63.35), rotation=pi/2))
lsmitll_xor_v2p1.add(gdstk.Reference(ls_conn_m4m5m6m7, (3.35,67.35)))
lsmitll_xor_v2p1.add(gdstk.Reference(ls_conn_m4m5m6m7, (13.35,67.35)))
lsmitll_xor_v2p1.add(gdstk.Reference(ls_conn_m4m5m6m7, (16.35,47.6), rotation=pi/2))
lsmitll_xor_v2p1.add(gdstk.Reference(ls_conn_m4m5m6m7, (38.75,43.35), rotation=pi/2))
lsmitll_xor_v2p1.add(gdstk.Reference(ls_conn_m4m5m6m7, (59.45,23.35), rotation=pi/2))
lsmitll_xor_v2p1.add(gdstk.Reference(ls_conn_m4m5m6m7, (52.65,43.35), rotation=pi/2))
lsmitll_xor_v2p1.add(gdstk.Reference(ls_conn_m4m5m6m7, (58.75,43.35), rotation=pi/2))
lsmitll_xor_v2p1.add(gdstk.Reference(ls_conn_m4m5m6m7, (60.65,53.35), rotation=pi/2))
lsmitll_xor_v2p1.add(gdstk.Reference(ls_conn_m4m5m6m7, (69.75,53.35), rotation=pi/2))
lsmitll_xor_v2p1.add(gdstk.Reference(ls_conn_m4m5m6m7, (69.75,63.35), rotation=pi/2))
lsmitll_xor_v2p1.add(gdstk.Reference(ls_conn_m4m5m6m7, (51.95,63.35), rotation=pi/2))
lsmitll_xor_v2p1.add(gdstk.Reference(ls_conn_m4m5m6m7, (32.65,63.35), rotation=pi/2))
lsmitll_xor_v2p1.add(gdstk.Reference(ls_conn_m4m5m6m7, (38.75,63.35), rotation=pi/2))
lsmitll_xor_v2p1.add(gdstk.Reference(ls_conn_m4m5m6m7, (22.65,23.35), rotation=pi/2))
lsmitll_xor_v2p1.add(gdstk.Reference(ls_conn_m4m5m6m7, (63.35,50.15)))
lsmitll_xor_v2p1.add(gdstk.Reference(ls_conn_m4m5m6m7, (63.35,67.35)))
lsmitll_xor_v2p1.add(gdstk.Reference(ls_conn_m4m5m6m7, (53.35,67.35)))
lsmitll_xor_v2p1.add(gdstk.Reference(ls_conn_m4m5m6m7, (43.35,57.35)))
lsmitll_xor_v2p1.add(gdstk.Reference(ls_conn_m4m5m6m7, (43.35,51.25)))
lsmitll_xor_v2p1.add(gdstk.Reference(ls_conn_m4m5m6m7, (23.35,47.35)))
lsmitll_xor_v2p1.add(gdstk.Reference(ls_conn_m4m5m6m7, (63.35,37.35)))
lsmitll_xor_v2p1.add(gdstk.Reference(ls_conn_m4m5m6m7, (63.35,31.25)))
lsmitll_xor_v2p1.add(gdstk.Reference(ls_conn_m4m5m6m7, (53.35,21.25)))
lsmitll_xor_v2p1.add(gdstk.Reference(ls_conn_m4m5m6m7, (43.35,17.35)))
lsmitll_xor_v2p1.add(gdstk.Reference(ls_conn_m4m5m6m7, (43.35,21.25)))
lsmitll_xor_v2p1.add(gdstk.Reference(ls_conn_m4m5m6m7, (3.35,1.25)))
lsmitll_xor_v2p1.add(gdstk.Reference(ls_conn_m4m5m6m7, (13.35,1.25)))
lsmitll_xor_v2p1.add(gdstk.Reference(ls_conn_m4m5m6m7, (13.35,42.3)))
lsmitll_xor_v2p1.add(gdstk.Reference(ls_conn_m4m5m6m7, (17.2,14.45)))
lsmitll_xor_v2p1.add(gdstk.Reference(ls_conn_m4m5m6m7, (23.35,14.45)))
lsmitll_xor_v2p1.add(gdstk.Reference(ls_conn_m4m5m6m7, (23.35,41.25)))
lsmitll_xor_v2p1.add(gdstk.Reference(ls_conn_m4m5m6m7, (23.35,37.35)))
lsmitll_xor_v2p1.add(gdstk.Reference(ls_conn_m4m5m6m7, (3.35,31.25)))
lsmitll_xor_v2p1.add(gdstk.Reference(ls_tr_bias_pillar_m0m6, (60,50)))
lsmitll_xor_v2p1.add(gdstk.Reference(ls_tr_u_m4_alt_quarter1, (20,50), rotation=3*pi/2, x_reflection=True))
lsmitll_xor_v2p1.add(gdstk.Reference(ls_tr_bias_pillar_m0m6, (0,20)))
lsmitll_xor_v2p1.add(gdstk.Reference(ls_tr_bias_pillar_m0m6, (50,10)))
lsmitll_xor_v2p1.add(gdstk.Reference(ls_tr_bias_pillar_m0m6, (50,50)))
lsmitll_xor_v2p1.add(gdstk.Reference(ls_tr_bias_pillar_m0m6, (0,40)))
lsmitll_xor_v2p1.add(gdstk.Reference(ls_conn_m5m6, (20.75,55.85), rotation=3*pi/2))
lsmitll_xor_v2p1.add(gdstk.Reference(ls_jj_250_sg, (35,55), rotation=pi))
lsmitll_xor_v2p1.add(gdstk.Reference(ls_ib_175, (48.7,15), rotation=pi/2))
lsmitll_xor_v2p1.add(gdstk.Reference(ls_jj_250_sg, (35,15), rotation=pi/2))
lsmitll_xor_v2p1.add(gdstk.Reference(ls_tr_u_m4_alt, (0,60)))
lsmitll_xor_v2p1.add(gdstk.Reference(ls_tr_u_m4_alt, (0,30)))
lsmitll_xor_v2p1.add(gdstk.Reference(ls_tr_u_m4_alt, (0,10)))
lsmitll_xor_v2p1.add(gdstk.Reference(ls_tr_u_m4_alt, (0,0)))
lsmitll_xor_v2p1.add(gdstk.Reference(ls_tr_u_m4_alt, (10,0)))
lsmitll_xor_v2p1.add(gdstk.Reference(ls_tr_u_m4_alt, (10,10)))
lsmitll_xor_v2p1.add(gdstk.Reference(ls_tr_u_m4_alt, (10,20)))
lsmitll_xor_v2p1.add(gdstk.Reference(ls_tr_u_m4_alt, (10,50)))
lsmitll_xor_v2p1.add(gdstk.Reference(ls_tr_u_m4_alt, (10,60)))
lsmitll_xor_v2p1.add(gdstk.Reference(ls_tr_u_m4_alt, (20,60)))
lsmitll_xor_v2p1.add(gdstk.Reference(ls_tr_u_m4_alt, (20,50)))
lsmitll_xor_v2p1.add(gdstk.Reference(ls_tr_u_m4_alt, (20,40)))
lsmitll_xor_v2p1.add(gdstk.Reference(ls_tr_u_m4_alt, (20,30)))
lsmitll_xor_v2p1.add(gdstk.Reference(ls_tr_u_m4_alt, (20,20)))
lsmitll_xor_v2p1.add(gdstk.Reference(ls_tr_u_m4_alt, (20,10)))
lsmitll_xor_v2p1.add(gdstk.Reference(ls_tr_u_m4_alt, (20,0)))
lsmitll_xor_v2p1.add(gdstk.Reference(ls_tr_u_m4_alt, (30,0)))
lsmitll_xor_v2p1.add(gdstk.Reference(ls_tr_u_m4_alt, (30,10)))
lsmitll_xor_v2p1.add(gdstk.Reference(ls_tr_u_m4_alt, (30,20)))
lsmitll_xor_v2p1.add(gdstk.Reference(ls_tr_u_m4_alt, (30,30)))
lsmitll_xor_v2p1.add(gdstk.Reference(ls_tr_u_m4_alt, (30,40)))
lsmitll_xor_v2p1.add(gdstk.Reference(ls_tr_u_m4_alt, (30,50)))
lsmitll_xor_v2p1.add(gdstk.Reference(ls_tr_u_m4_alt, (30,60)))
lsmitll_xor_v2p1.add(gdstk.Reference(ls_tr_u_m4_alt, (40,60)))
lsmitll_xor_v2p1.add(gdstk.Reference(ls_tr_u_m4_alt, (40,50)))
lsmitll_xor_v2p1.add(gdstk.Reference(ls_tr_u_m4_alt, (40,40)))
lsmitll_xor_v2p1.add(gdstk.Reference(ls_tr_u_m4_alt, (40,30)))
lsmitll_xor_v2p1.add(gdstk.Reference(ls_tr_u_m4_alt, (40,20)))
lsmitll_xor_v2p1.add(gdstk.Reference(ls_tr_u_m4_alt, (40,10)))
lsmitll_xor_v2p1.add(gdstk.Reference(ls_tr_u_m4_alt, (40,0)))
lsmitll_xor_v2p1.add(gdstk.Reference(ls_tr_u_m4_alt, (50,0)))
lsmitll_xor_v2p1.add(gdstk.Reference(ls_tr_u_m4_alt, (50,20)))
lsmitll_xor_v2p1.add(gdstk.Reference(ls_tr_u_m4_alt, (50,30)))
lsmitll_xor_v2p1.add(gdstk.Reference(ls_tr_u_m4_alt, (50,40)))
lsmitll_xor_v2p1.add(gdstk.Reference(ls_tr_u_m4_alt, (50,60)))
lsmitll_xor_v2p1.add(gdstk.Reference(ls_tr_u_m4_alt, (60,60)))
lsmitll_xor_v2p1.add(gdstk.Reference(ls_tr_u_m4_alt, (60,40)))
lsmitll_xor_v2p1.add(gdstk.Reference(ls_tr_u_m4_alt, (60,30)))
lsmitll_xor_v2p1.add(gdstk.Reference(ls_tr_u_m4_alt, (60,20)))
lsmitll_xor_v2p1.add(gdstk.Reference(ls_tr_u_m4_alt, (60,10)))
lsmitll_xor_v2p1.add(gdstk.Reference(ls_tr_u_m4_alt, (60,0)))
lsmitll_xor_v2p1.add(gdstk.Reference(ls_jj_250_sg, (15,35), rotation=3*pi/2))
lsmitll_xor_v2p1.add(gdstk.Reference(ls_jj_250_sg, (55,35), rotation=pi/2))
lsmitll_xor_v2p1.add(gdstk.Reference(ls_ib_175, (55,38.85)))
lsmitll_xor_v2p1.add(gdstk.Reference(ls_conn_m5m6, (34.15,29.15)))
lsmitll_xor_v2p1.add(gdstk.Reference(ls_conn_m5m6, (34.15,21)))
lsmitll_xor_v2p1.add(gdstk.Reference(ls_conn_m5m6, (14.15,20.75)))
lsmitll_xor_v2p1.add(gdstk.Reference(ls_ib_175, (49.3,55), rotation=pi/2))
lsmitll_xor_v2p1.add(gdstk.Reference(ls_ib_175, (65.05,65), rotation=pi/2))
lsmitll_xor_v2p1.add(gdstk.Reference(ls_tr_biaspillar_m0m6_ha, (20,35), rotation=pi/2))
lsmitll_xor_v2p1.add(gdstk.Reference(ls_tr_u_m4_alt_quarter1, (10,30)))
lsmitll_xor_v2p1.add(gdstk.Reference(ls_tr_u_m4_alt_quarter1, (10,50), rotation=3*pi/2))
lsmitll_xor_v2p1.add(gdstk.Reference(ls_tr_u_m4_alt_quarter2, (20,30)))
lsmitll_xor_v2p1.add(gdstk.Reference(ls_conn_m4m5m6m7, (3.35,37.35)))
lsmitll_xor_v2p1.add(gdstk.Reference(ls_jj_171_s, (15,18.5), rotation=pi/2))
lsmitll_xor_v2p1.add(gdstk.Reference(ls_tr_u_m4_alt, (0,50)))
lsmitll_xor_v2p1.add(gdstk.Reference(ls_conn_m4m5m6m7, (23.35,50.55)))
lsmitll_xor_v2p1.add(gdstk.Reference(ls_conn_m4m5m6m7, (19.45,23.35), rotation=pi/2))
lsmitll_xor_v2p1.add(gdstk.Reference(ls_conn_m4m5m6m7, (45.65,33.35), rotation=pi/2))
lsmitll_xor_v2p1.add(gdstk.Reference(ls_conn_m4m5m6m7, (49.3,6.65), rotation=3*pi/2))
lsmitll_xor_v2p1.add(gdstk.Reference(ls_conn_m4m5m6m7, (59.3,6.65), rotation=3*pi/2))
lsmitll_xor_v2p1.add(gdstk.Reference(ls_conn_m4m5m6m7, (63.35,19.3)))
lsmitll_xor_v2p1.add(gdstk.Reference(ls_conn_m4m5m6m7, (63.35,9.3)))
lsmitll_xor_v2p1.add(gdstk.Reference(ls_conn_m4m5m6m7, (23.35,9.3)))
lsmitll_xor_v2p1.add(gdstk.Reference(ls_conn_m4m5m6m7, (43.35,39.3)))
lsmitll_xor_v2p1.add(gdstk.Reference(ls_jj_089_sg, (35.85,25.3), rotation=pi/2))
lsmitll_xor_v2p1.add(gdstk.Reference(ls_conn_m4m5m6m7, (1.65,43.35), rotation=pi/2))
lsmitll_xor_v2p1.add(gdstk.Reference(ls_conn_m4m5m6m7, (9.85,43.35), rotation=pi/2))
lsmitll_xor_v2p1.add(gdstk.Reference(ls_conn_m4m5m6m7, (3.35,40.15)))
lsmitll_xor_v2p1.add(gdstk.Reference(ls_conn_m4m5m6m7, (1.65,23.35), rotation=pi/2))
lsmitll_xor_v2p1.add(gdstk.Reference(ls_conn_m4m5m6m7, (1.65,3.35), rotation=pi/2))
lsmitll_xor_v2p1.add(gdstk.Label('bias_out', (70,65), layer=182, texttype=0))
lsmitll_xor_v2p1.add(gdstk.Label('bias_in', (0,65), layer=182, texttype=0))
lsmitll_xor_v2p1.add(gdstk.Label('a', (0,35), layer=182, texttype=0))
lsmitll_xor_v2p1.add(gdstk.Label('P1 M6 M4', (0,35), layer=182, texttype=0))
lsmitll_xor_v2p1.add(gdstk.Label('J1 M6 M5', (15,35), layer=182, texttype=0))
lsmitll_xor_v2p1.add(gdstk.Label('PB1 M6 M4', (64.5,65), layer=182, texttype=0))
lsmitll_xor_v2p1.add(gdstk.Label('J2 M6 M5', (15,25), layer=182, texttype=0))
lsmitll_xor_v2p1.add(gdstk.Label('J3 M5 M6', (15,18.5), layer=182, texttype=0))
lsmitll_xor_v2p1.add(gdstk.Label('PB2 M6 M4', (5,6.1), layer=182, texttype=0))
lsmitll_xor_v2p1.add(gdstk.Label('J7 M6 M5', (35,35), layer=182, texttype=0))
lsmitll_xor_v2p1.add(gdstk.Label('b', (35,70), layer=182, texttype=0))
lsmitll_xor_v2p1.add(gdstk.Label('P2 M6 M4', (35,70), layer=182, texttype=0))
lsmitll_xor_v2p1.add(gdstk.Label('J4 M6 M5', (35,55), layer=182, texttype=0))
lsmitll_xor_v2p1.add(gdstk.Label('PB3 M6 M4', (39.8,55), layer=182, texttype=0))
lsmitll_xor_v2p1.add(gdstk.Label('J5 M6 M5', (25,55), layer=182, texttype=0))
lsmitll_xor_v2p1.add(gdstk.Label('J6 M5 M6', (18.5,55), layer=182, texttype=0))
lsmitll_xor_v2p1.add(gdstk.Label('PB4 M6 M4', (5,64.55), layer=182, texttype=0))
lsmitll_xor_v2p1.add(gdstk.Label('J10 M6 M5', (35.9,25.3), layer=182, texttype=0))
lsmitll_xor_v2p1.add(gdstk.Label('J11 M6 M5', (55,35), layer=182, texttype=0))
lsmitll_xor_v2p1.add(gdstk.Label('PB6 M6 M4', (55,39.4), layer=182, texttype=0))
lsmitll_xor_v2p1.add(gdstk.Label('q', (70,35), layer=182, texttype=0))
lsmitll_xor_v2p1.add(gdstk.Label('P4 M6 M4', (70,35), layer=182, texttype=0))
lsmitll_xor_v2p1.add(gdstk.Label('clk', (35,0), layer=182, texttype=0))
lsmitll_xor_v2p1.add(gdstk.Label('P3 M6 M4', (35,0), layer=182, texttype=0))
lsmitll_xor_v2p1.add(gdstk.Label('J8 M6 M5', (35,15), layer=182, texttype=0))
lsmitll_xor_v2p1.add(gdstk.Label('PB5 M6 M4', (39.2,15), layer=182, texttype=0))
lsmitll_xor_v2p1.add(gdstk.Label('J9 M6 M5', (35,18.7), layer=182, texttype=0))

lib.write_gds('LSmitll_XOR_v2p1.gds')
